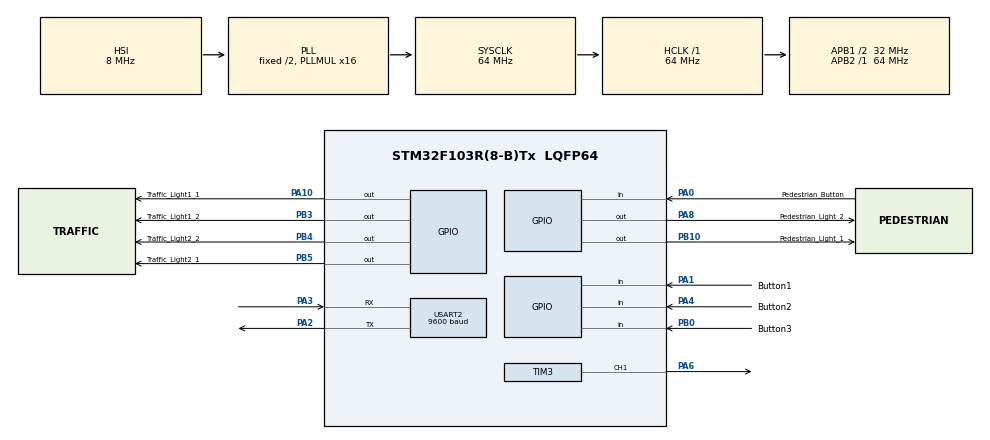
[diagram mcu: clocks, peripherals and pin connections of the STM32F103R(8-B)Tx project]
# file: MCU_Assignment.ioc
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Mcu.Family=STM32F1
Mcu.Name=STM32F103R(8-B)Tx
Mcu.Package=LQFP64
NVIC.PriorityGroup=NVIC_PRIORITYGROUP_4
NVIC.TIM2_IRQn=true\:0\:0\:false\:false\:true\:true\:true
NVIC.TIM3_IRQn=true\:0\:0\:false\:false\:true\:true\:true
NVIC.USART2_IRQn=true\:0\:0\:false\:false\:true\:true\:true
PA0-WKUP.GPIO_Label=Pedestrian_Button
PA0-WKUP.GPIO_PuPd=GPIO_PULLUP
PA0-WKUP.Signal=GPIO_Input
PA1.GPIO_Label=Button1
PA1.GPIO_PuPd=GPIO_PULLUP
PA1.Signal=GPIO_Input
PA10.GPIO_Label=Traffic_Light1_1
PA10.Signal=GPIO_Output
PA13.Mode=Serial_Wire
PA13.Signal=SYS_JTMS-SWDIO
PA14.Mode=Serial_Wire
PA14.Signal=SYS_JTCK-SWCLK
PA2.Mode=Asynchronous
PA2.Signal=USART2_TX
PA3.Mode=Asynchronous
PA3.Signal=USART2_RX
PA4.GPIO_Label=Button2
PA4.GPIO_PuPd=GPIO_PULLUP
PA4.Signal=GPIO_Input
PA6.Signal=S_TIM3_CH1
PA8.GPIO_Label=Pedestrian_Light_2
PA8.Signal=GPIO_Output
PB0.GPIO_Label=Button3
PB0.GPIO_PuPd=GPIO_PULLUP
PB0.Signal=GPIO_Input
PB10.GPIO_Label=Pedestrian_Light_1
PB10.Signal=GPIO_Output
PB3.GPIO_Label=Traffic_Light1_2
PB3.Signal=GPIO_Output
PB4.GPIO_Label=Traffic_Light2_2
PB4.Signal=GPIO_Output
PB5.GPIO_Label=Traffic_Light2_1
PB5.Signal=GPIO_Output
PD0-OSC_IN.Mode=HSE-External-Oscillator
PD0-OSC_IN.Signal=RCC_OSC_IN
PD1-OSC_OUT.Mode=HSE-External-Oscillator
PD1-OSC_OUT.Signal=RCC_OSC_OUT
ProjectManager.HeapSize=0x200
ProjectManager.StackSize=0x400
ProjectManager.TargetToolchain=STM32CubeIDE
RCC.AHBFreq_Value=64000000
RCC.APB1CLKDivider=RCC_HCLK_DIV2
RCC.APB1Freq_Value=32000000
RCC.APB1TimFreq_Value=64000000
RCC.APB2Freq_Value=64000000
RCC.APB2TimFreq_Value=64000000
RCC.HCLKFreq_Value=64000000
RCC.PLLMUL=RCC_PLL_MUL16
RCC.SYSCLKFreq_VALUE=64000000
RCC.SYSCLKSource=RCC_SYSCLKSOURCE_PLLCLK
RCC.USBFreq_Value=64000000
SH.S_TIM3_CH1.0=TIM3_CH1,PWM Generation1 CH1
TIM2.Period=99
TIM2.Prescaler=6399
TIM3.Channel-PWM\ Generation1\ CH1=TIM_CHANNEL_1
TIM3.Period=254
TIM3.Prescaler=983
USART2.BaudRate=9600
USART2.VirtualMode=VM_ASYNC
VP_TIM2_VS_ClockSourceINT.Mode=Internal
VP_TIM3_VS_ClockSourceINT.Mode=Internal
board=custom

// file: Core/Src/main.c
/* USER CODE BEGIN Header */
/**
  ******************************************************************************
  * @file           : main.c
  * @brief          : Main program body
  ******************************************************************************
  * @attention
  *
  * <h2><center>&copy; Copyright (c) 2023 STMicroelectronics.
  * All rights reserved.</center></h2>
  *
  * This software component is licensed by ST under BSD 3-Clause license,
  * the "License"; You may not use this file except in compliance with the
  * License. You may obtain a copy of the License at:
  *                        opensource.org/licenses/BSD-3-Clause
  *
  ******************************************************************************
  */
/* USER CODE END Header */
#include "main.h"

/* USER CODE BEGIN Includes */
#include <stdio.h>
#include "software_timer.h"
#include "scheduler.h"
#include "button.h"
#include "fsm_automatic.h"
#include "fsm_manual.h"
#include "fsm_pedestrian.h"
/* USER CODE END Includes */

TIM_HandleTypeDef htim2;
TIM_HandleTypeDef htim3;

UART_HandleTypeDef huart2;

void SystemClock_Config(void);
static void MX_GPIO_Init(void);
static void MX_TIM2_Init(void);
static void MX_TIM3_Init(void);
static void MX_USART2_UART_Init(void);

/* USER CODE BEGIN 0 */
char str[50];
void UART_Transmit(){
	HAL_UART_Transmit(&huart2, (void*)str, sprintf(str, "!7SEG1: %d%d#  !7SEG2: %d%d#\r\n",
			          led_buffer[0], led_buffer[1], led_buffer[2], led_buffer[3]), 1000);
}
/* USER CODE END 0 */

int main(void)
{

  /* MCU Configuration--------------------------------------------------------*/

  /* Reset of all peripherals, Initializes the Flash interface and the Systick. */
  HAL_Init();

  /* Configure the system clock */
  SystemClock_Config();

  /* Initialize all configured peripherals */
  MX_GPIO_Init();
  MX_TIM2_Init();
  MX_TIM3_Init();
  MX_USART2_UART_Init();
  /* USER CODE BEGIN 2 */
  HAL_TIM_Base_Start_IT(&htim2);
  HAL_TIM_PWM_Start(&htim3, TIM_CHANNEL_1);
  /* USER CODE END 2 */

  /* Infinite loop */
  /* USER CODE BEGIN WHILE */
  clearAllLED();
  status = INIT;
  SCH_Init();
  SCH_Add_Task(timerRun, 0, 1);
  SCH_Add_Task(getKeyInput, 0, 1);
  SCH_Add_Task(fsm_automatic_run, 0, 1);
  SCH_Add_Task(fsm_manual_run, 0, 1);
  SCH_Add_Task(fsm_pedestrian_run, 0, 1);
  SCH_Add_Task(UART_Transmit, 101, 100);
  while (1)
  {
	  SCH_Dispatch_Tasks();

    /* USER CODE END WHILE */

  }
}

void SystemClock_Config(void)
{
  RCC_OscInitTypeDef RCC_OscInitStruct = {0};
  RCC_ClkInitTypeDef RCC_ClkInitStruct = {0};

  /** Initializes the RCC Oscillators according to the specified parameters
  * in the RCC_OscInitTypeDef structure.
  */
  RCC_OscInitStruct.OscillatorType = RCC_OSCILLATORTYPE_HSI;
  RCC_OscInitStruct.HSIState = RCC_HSI_ON;
  RCC_OscInitStruct.HSICalibrationValue = RCC_HSICALIBRATION_DEFAULT;
  RCC_OscInitStruct.PLL.PLLState = RCC_PLL_ON;
  RCC_OscInitStruct.PLL.PLLSource = RCC_PLLSOURCE_HSI_DIV2;
  RCC_OscInitStruct.PLL.PLLMUL = RCC_PLL_MUL16;
  if (HAL_RCC_OscConfig(&RCC_OscInitStruct) != HAL_OK)
  {
    Error_Handler();
  }
  /** Initializes the CPU, AHB and APB buses clocks
  */
  RCC_ClkInitStruct.ClockType = RCC_CLOCKTYPE_HCLK|RCC_CLOCKTYPE_SYSCLK
                              |RCC_CLOCKTYPE_PCLK1|RCC_CLOCKTYPE_PCLK2;
  RCC_ClkInitStruct.SYSCLKSource = RCC_SYSCLKSOURCE_PLLCLK;
  RCC_ClkInitStruct.AHBCLKDivider = RCC_SYSCLK_DIV1;
  RCC_ClkInitStruct.APB1CLKDivider = RCC_HCLK_DIV2;
  RCC_ClkInitStruct.APB2CLKDivider = RCC_HCLK_DIV1;

  if (HAL_RCC_ClockConfig(&RCC_ClkInitStruct, FLASH_LATENCY_2) != HAL_OK)
  {
    Error_Handler();
  }
}

static void MX_TIM2_Init(void)
{

  TIM_ClockConfigTypeDef sClockSourceConfig = {0};
  TIM_MasterConfigTypeDef sMasterConfig = {0};

  htim2.Instance = TIM2;
  htim2.Init.Prescaler = 6399;
  htim2.Init.CounterMode = TIM_COUNTERMODE_UP;
  htim2.Init.Period = 99;
  htim2.Init.ClockDivision = TIM_CLOCKDIVISION_DIV1;
  htim2.Init.AutoReloadPreload = TIM_AUTORELOAD_PRELOAD_DISABLE;
  if (HAL_TIM_Base_Init(&htim2) != HAL_OK)
  {
    Error_Handler();
  }
  sClockSourceConfig.ClockSource = TIM_CLOCKSOURCE_INTERNAL;
  if (HAL_TIM_ConfigClockSource(&htim2, &sClockSourceConfig) != HAL_OK)
  {
    Error_Handler();
  }
  sMasterConfig.MasterOutputTrigger = TIM_TRGO_RESET;
  sMasterConfig.MasterSlaveMode = TIM_MASTERSLAVEMODE_DISABLE;
  if (HAL_TIMEx_MasterConfigSynchronization(&htim2, &sMasterConfig) != HAL_OK)
  {
    Error_Handler();
  }

}

static void MX_TIM3_Init(void)
{

  TIM_ClockConfigTypeDef sClockSourceConfig = {0};
  TIM_MasterConfigTypeDef sMasterConfig = {0};
  TIM_OC_InitTypeDef sConfigOC = {0};

  htim3.Instance = TIM3;
  htim3.Init.Prescaler = 983;
  htim3.Init.CounterMode = TIM_COUNTERMODE_UP;
  htim3.Init.Period = 254;
  htim3.Init.ClockDivision = TIM_CLOCKDIVISION_DIV1;
  htim3.Init.AutoReloadPreload = TIM_AUTORELOAD_PRELOAD_DISABLE;
  if (HAL_TIM_Base_Init(&htim3) != HAL_OK)
  {
    Error_Handler();
  }
  sClockSourceConfig.ClockSource = TIM_CLOCKSOURCE_INTERNAL;
  if (HAL_TIM_ConfigClockSource(&htim3, &sClockSourceConfig) != HAL_OK)
  {
    Error_Handler();
  }
  if (HAL_TIM_PWM_Init(&htim3) != HAL_OK)
  {
    Error_Handler();
  }
  sMasterConfig.MasterOutputTrigger = TIM_TRGO_RESET;
  sMasterConfig.MasterSlaveMode = TIM_MASTERSLAVEMODE_DISABLE;
  if (HAL_TIMEx_MasterConfigSynchronization(&htim3, &sMasterConfig) != HAL_OK)
  {
    Error_Handler();
  }
  sConfigOC.OCMode = TIM_OCMODE_PWM1;
  sConfigOC.Pulse = 0;
  sConfigOC.OCPolarity = TIM_OCPOLARITY_HIGH;
  sConfigOC.OCFastMode = TIM_OCFAST_DISABLE;
  if (HAL_TIM_PWM_ConfigChannel(&htim3, &sConfigOC, TIM_CHANNEL_1) != HAL_OK)
  {
    Error_Handler();
  }
  HAL_TIM_MspPostInit(&htim3);

}

static void MX_USART2_UART_Init(void)
{

  huart2.Instance = USART2;
  huart2.Init.BaudRate = 9600;
  huart2.Init.WordLength = UART_WORDLENGTH_8B;
  huart2.Init.StopBits = UART_STOPBITS_1;
  huart2.Init.Parity = UART_PARITY_NONE;
  huart2.Init.Mode = UART_MODE_TX_RX;
  huart2.Init.HwFlowCtl = UART_HWCONTROL_NONE;
  huart2.Init.OverSampling = UART_OVERSAMPLING_16;
  if (HAL_UART_Init(&huart2) != HAL_OK)
  {
    Error_Handler();
  }

}

static void MX_GPIO_Init(void)
{
  GPIO_InitTypeDef GPIO_InitStruct = {0};

  /* GPIO Ports Clock Enable */
  __HAL_RCC_GPIOD_CLK_ENABLE();
  __HAL_RCC_GPIOA_CLK_ENABLE();
  __HAL_RCC_GPIOB_CLK_ENABLE();

  /*Configure GPIO pin Output Level */
  HAL_GPIO_WritePin(GPIOB, Pedestrian_Light_1_Pin|Traffic_Light1_2_Pin|Traffic_Light2_2_Pin|Traffic_Light2_1_Pin, GPIO_PIN_RESET);

  /*Configure GPIO pin Output Level */
  HAL_GPIO_WritePin(GPIOA, Pedestrian_Light_2_Pin|Traffic_Light1_1_Pin, GPIO_PIN_RESET);

  /*Configure GPIO pins : Pedestrian_Button_Pin Button1_Pin Button2_Pin */
  GPIO_InitStruct.Pin = Pedestrian_Button_Pin|Button1_Pin|Button2_Pin;
  GPIO_InitStruct.Mode = GPIO_MODE_INPUT;
  GPIO_InitStruct.Pull = GPIO_PULLUP;
  HAL_GPIO_Init(GPIOA, &GPIO_InitStruct);

  /*Configure GPIO pin : Button3_Pin */
  GPIO_InitStruct.Pin = Button3_Pin;
  GPIO_InitStruct.Mode = GPIO_MODE_INPUT;
  GPIO_InitStruct.Pull = GPIO_PULLUP;
  HAL_GPIO_Init(Button3_GPIO_Port, &GPIO_InitStruct);

  /*Configure GPIO pins : Pedestrian_Light_1_Pin Traffic_Light1_2_Pin Traffic_Light2_2_Pin Traffic_Light2_1_Pin */
  GPIO_InitStruct.Pin = Pedestrian_Light_1_Pin|Traffic_Light1_2_Pin|Traffic_Light2_2_Pin|Traffic_Light2_1_Pin;
  GPIO_InitStruct.Mode = GPIO_MODE_OUTPUT_PP;
  GPIO_InitStruct.Pull = GPIO_NOPULL;
  GPIO_InitStruct.Speed = GPIO_SPEED_FREQ_LOW;
  HAL_GPIO_Init(GPIOB, &GPIO_InitStruct);

  /*Configure GPIO pins : Pedestrian_Light_2_Pin Traffic_Light1_1_Pin */
  GPIO_InitStruct.Pin = Pedestrian_Light_2_Pin|Traffic_Light1_1_Pin;
  GPIO_InitStruct.Mode = GPIO_MODE_OUTPUT_PP;
  GPIO_InitStruct.Pull = GPIO_NOPULL;
  GPIO_InitStruct.Speed = GPIO_SPEED_FREQ_LOW;
  HAL_GPIO_Init(GPIOA, &GPIO_InitStruct);

}

/* USER CODE BEGIN 4 */
void HAL_TIM_PeriodElapsedCallback(TIM_HandleTypeDef *htim){
	SCH_Update();
}

/* USER CODE END 4 */

void Error_Handler(void)
{
  __disable_irq();
  while (1)
  {
  }
}

/************************ (C) COPYRIGHT STMicroelectronics *****END OF FILE****/
